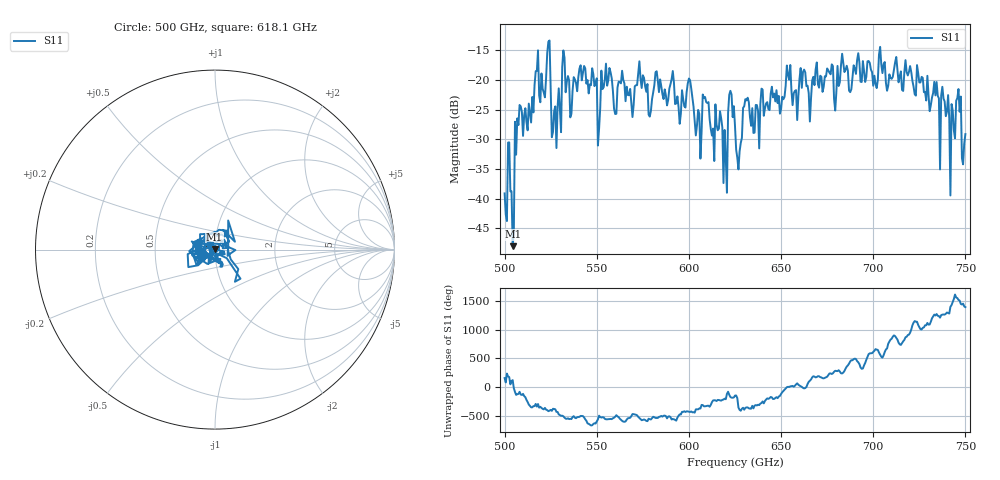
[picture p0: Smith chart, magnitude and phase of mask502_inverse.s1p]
!Created with skrf (http://scikit-rf.org).
# GHz S MA R 50.0
!freq magS11 angS11
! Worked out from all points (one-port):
!   401 points, 500 GHz to 750 GHz, reference 50 ohm
!   lowest |S11| = -48.0 dB at 504.4 GHz (marker M1), VSWR 1.01, Z = 49.8 + j0.338 ohm
!   |S11| at or under -10 dB: start of sweep to end of sweep
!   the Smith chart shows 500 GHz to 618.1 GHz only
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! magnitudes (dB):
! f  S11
! 500 GHz  -39.1
! 504.4 GHz  -48.0
! 508.1 GHz  -24.2
! 523.8 GHz  -13.5
! 526.9 GHz  -25.2
! 531.2 GHz  -17.8
! 548.8 GHz  -21.0
! 550.6 GHz  -31.0
! 553.8 GHz  -21.2
! 562.5 GHz  -20.3
! 579.4 GHz  -25.2
! 590.6 GHz  -19.8
! 593.8 GHz  -22.8
! 600.6 GHz  -20.0
! 605 GHz  -25.0
! 608.8 GHz  -22.9
! 619.4 GHz  -28.4
! 622.5 GHz  -21.8
! 625 GHz  -27.8
! 626.9 GHz  -35.0
! 630.6 GHz  -23.2
! 634.4 GHz  -24.7
! 656.2 GHz  -24.2
! 687.5 GHz  -22.0
! 718.8 GHz  -19.2
! 743.1 GHz  -25.1
! 746.2 GHz  -21.5
! 750 GHz  -29.1
